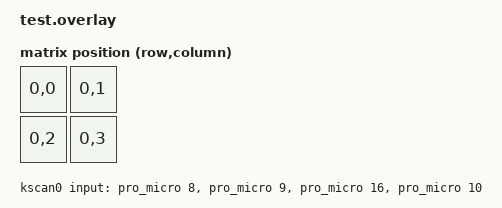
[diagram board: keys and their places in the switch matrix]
#include <dt-bindings/zmk/matrix_transform.h>
#include <dt-bindings/zmk/trackball_pim447.h> 

/ {
    chosen {
        zmk,kscan = &kscan0;
		  zmk,matrix_transform = &default_transform;
    };

	 default_transform: keymap_transform_0 {
        compatible = "zmk,matrix-transform";
        columns = <4>;
        rows = <1>;
        map = <
		     RC(0,0)  RC(0,1)
			  RC(0,2)  RC(0,3)
        >;
	 };

    kscan0: kscan_0 {
        compatible = "zmk,kscan-gpio-direct";
        label = "KSCAN";
        input-gpios
		  = <&pro_micro 8 (GPIO_ACTIVE_LOW | GPIO_PULL_UP)>
		  , <&pro_micro 9 (GPIO_ACTIVE_LOW | GPIO_PULL_UP)>
        , <&pro_micro 16 (GPIO_ACTIVE_LOW | GPIO_PULL_UP)>
        , <&pro_micro 10 (GPIO_ACTIVE_LOW | GPIO_PULL_UP)>
		  ;
    };

    &pro_micro_i2c {
	     status = "okay";
	     trackball_pim447@a {
		      compatible = "pimoroni,trackball_pim447";
		      reg = <0xa>;
		      label = "TRACKBALL_PIM447";
		
		      move-factor = <1>;      // Increase pointer velocity (default: 1)
		      //invert-move-x;          // Invert pointer X axis (left is right, and vice versa)
		      //invert-move-y;          // Invert pointer Y axis (up is down, and vice versa)
		      button = <1>;           // Send right-click when pressing the ball (default: 0 = left click, 1 = right click, 2 = middle click?)
		      //swap-axes;              // Swap X and Y axes (horizontal is vertical, and vice versa)
		      scroll-divisor = <1>;   // Increase wheel velocity (default: 2)
		      //invert-scroll-x;        // Invert wheel X axis (left is right, and vice versa)
		      //invert-scroll-y;        // Invert wheel Y axis (up is down, and vice versa)
		      mode = <PIM447_SCROLL>; // Act as mouse wheels at startup (default: PIM447_MOVE for a pointer)
	    };
   };
};
